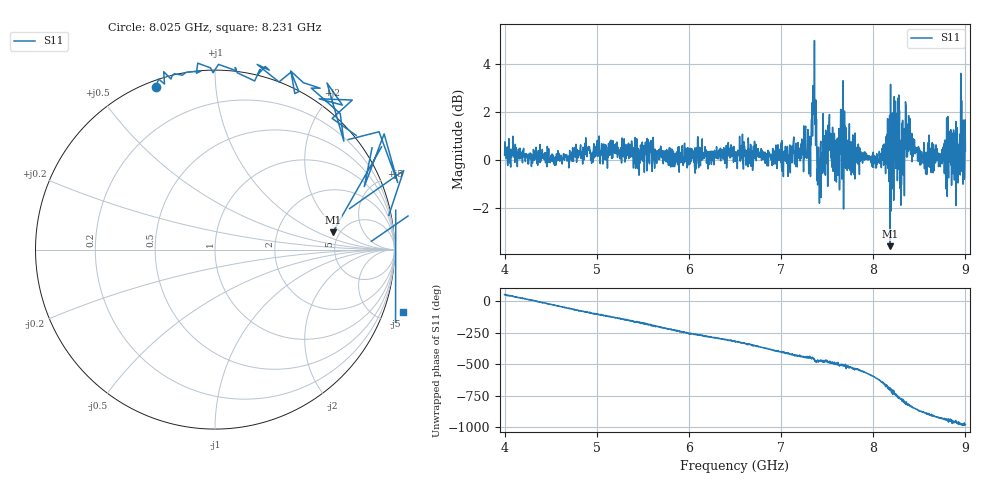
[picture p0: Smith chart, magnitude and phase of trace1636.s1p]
! Created with skrf 1.8.0 (http://scikit-rf.org).
# Hz S RI R 50.0
!freq ReS11 ImS11
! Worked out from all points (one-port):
!   1601 points, 4 GHz to 9 GHz, reference 50 ohm
!   lowest |S11| = -3.6 dB at 8.184 GHz (marker M1), VSWR 4.94, Z = 220 + j75.4 ohm
!   |S11| at or under -10 dB: nowhere
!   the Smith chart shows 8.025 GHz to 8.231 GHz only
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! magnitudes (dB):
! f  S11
! 4 GHz  0.2
! 4.625 GHz  -0.2
! 5.25 GHz  0.3
! 5.875 GHz  0.4
! 6.5 GHz  0.3
! 7.125 GHz  0.2
! 7.297 GHz  1.0
! 7.353 GHz  1.9
! 7.369 GHz  2.4
! 7.412 GHz  -0.1
! 7.509 GHz  0.6
! 7.609 GHz  0.5
! 7.669 GHz  1.6
! 7.75 GHz  0.3
! 8.038 GHz  0.3
! 8.184 GHz  -3.6
! 8.253 GHz  1.2
! 8.312 GHz  1.5
! 8.334 GHz  1.3
! 8.347 GHz  0.7
! 8.375 GHz  1.2
! 8.431 GHz  0.2
! 8.556 GHz  -0.3
! 8.794 GHz  0.2
! 8.834 GHz  0.5
! 8.919 GHz  -0.9
! 8.956 GHz  1.0
! 9 GHz  0.4
